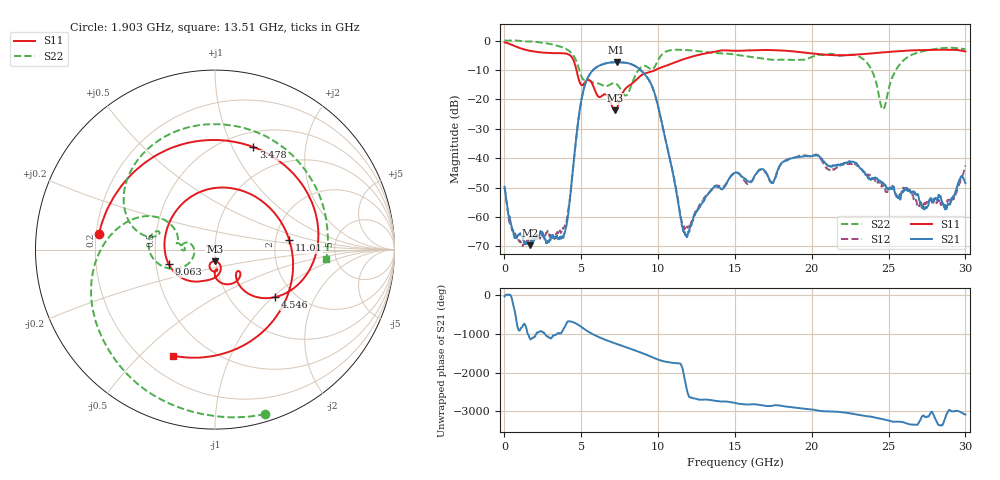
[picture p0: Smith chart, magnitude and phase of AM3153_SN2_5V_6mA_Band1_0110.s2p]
!Agilent Technologies,E8364B,MY43040894,A.07.50.67
!Agilent E8364B: A.07.50.67
!Date: Tuesday, May 12, 2020 09:44:33
!Correction: S11(Full 2 Port(1,2))
!S21(Full 2 Port(1,2))
!S12(Full 2 Port(1,2))
!S22(Full 2 Port(1,2))
!S2P File: Measurements: S11, S21, S12, S22:
# Hz S  dB  R 50
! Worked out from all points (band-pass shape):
!   1601 points, 10 MHz to 30 GHz, reference 50 ohm
!   highest |S21| = -7.37 dB at 7.301 GHz (marker M1); lowest = -69.7 dB at 1.659 GHz (marker M2)
!   |S21| within 3 dB of the highest: 5.708 GHz to 8.931 GHz (3.223 GHz wide, 44 % of centre)
!   lowest |S11| = -23.7 dB at 7.189 GHz (marker M3), VSWR 1.14, Z = 49.4 - j6.45 ohm
!   |S11| at or under -10 dB: 4.684 GHz to 9.833 GHz (5.149 GHz wide, 70.9 % of centre)
!   |S22| runs from -23.4 to 0.0 dB; largest |S21 - S12| = 0.0049
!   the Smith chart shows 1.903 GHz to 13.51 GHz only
!   S11 on the Smith chart (normalised r, x): 1.903 GHz: 0.21, +0.06; 3.478 GHz: 0.66, +1.21; 4.546 GHz: 1.60, -1.04; 9.063 GHz: 0.58, -0.10; 11.01 GHz: 2.38, +0.32; 13.51 GHz: 0.32, -0.63
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1e7  -0.62 -9.9  -49.74 -30.7  -49.80 66.1  0.01 -2.5
6.660312e8  -1.90 -85.6  -67.14 -36.3  -65.68 82.8  0.02 -25.1
1.65945e9  -3.49 -171.2  -69.68 -41.6  -67.60 -74.1  -0.33 -63.6
1.903119e9  -3.72 172.3  -68.14 -9.5  -68.04 -93.3  -0.38 -73.0
3.477594e9  -4.29 69.6  -67.17 97.0  -65.19 -119.4  -1.81 -137.4
4.545988e9  -7.37 -38.2  -39.26 10.3  -39.40 10.1  -5.55 164.3
5.014581e9  -15.16 -46.7  -20.04 -104.2  -20.01 -103.8  -12.26 154.5
7.188856e9  -23.74 -91.6  -7.37 -164.9  -7.39 -164.6  -14.53 173.7
7.301319e9  -23.17 -80.4  -7.37 179.4  -7.38 179.7  -14.81 170.0
9.063231e9  -11.35 -163.0  -11.08 -72.0  -11.13 -71.4  -8.62 176.7
1.001916e10  -9.53 102.2  -22.75 130.8  -22.84 131.6  -6.50 164.7
1.101258e10  -7.60 7.6  -46.33 46.6  -46.09 48.4  -3.16 106.0
1.179982e10  -6.11 -41.6  -66.07 -143.1  -63.64 -79.1  -3.19 68.0
1.35055e10  -3.93 -111.5  -50.59 161.3  -50.70 157.5  -4.11 -4.8
1.5005e10  -3.48 -161.1  -44.98 94.0  -45.07 90.2  -4.78 -64.1
1.798526e10  -3.37 109.7  -41.96 20.9  -42.16 23.7  -6.51 172.6
2.000958e10  -4.38 35.2  -39.38 -75.7  -39.21 -78.5  -5.53 28.3
2.132164e10  -4.93 -19.6  -42.89 -129.2  -43.80 -127.4  -4.54 -76.5
2.287738e10  -4.78 -84.8  -41.63 156.7  -42.28 158.9  -5.04 -162.8
2.501416e10  -3.86 -160.8  -50.40 -4.6  -50.67 2.2  -16.30 -87.2
2.728216e10  -3.21 134.9  -57.08 129.1  -54.86 -111.7  -3.61 169.4
3e10  -3.71 75.3  -48.45 150.7  -42.56 166.2  -2.94 93.0
